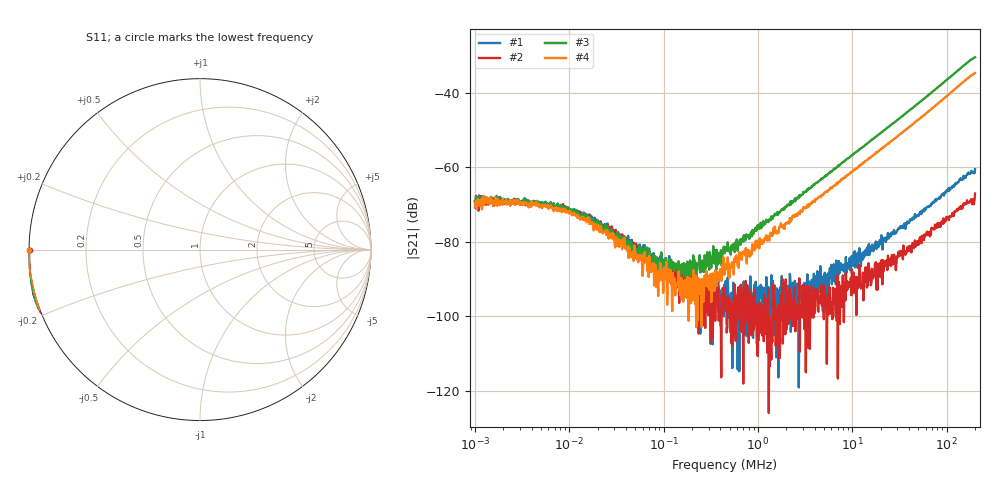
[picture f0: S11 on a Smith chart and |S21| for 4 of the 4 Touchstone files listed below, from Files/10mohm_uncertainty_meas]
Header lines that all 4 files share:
! ListType=Log
# MHZ S RI R 50
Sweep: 1 kHz to 200 MHz
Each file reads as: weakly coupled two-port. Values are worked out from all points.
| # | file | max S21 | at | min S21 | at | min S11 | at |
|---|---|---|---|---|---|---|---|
| 1 | gl2_via_13mil_dia.s2p | -60.54 dB | 200 MHz | -119.2 dB | 2.711 MHz | 0.0 dB | 1.076 kHz |
| 2 | gl2_via_26mil_dia.s2p | -67.12 dB | 200 MHz | -126.0 dB | 1.303 MHz | 0.0 dB | 1.025 kHz |
| 3 | gl4_via_13mil_dia.s2p | -30.52 dB | 200 MHz | -94.6 dB | 175.6 kHz | 0.0 dB | 1.089 kHz |
| 4 | gl4_via_26mil_dia.s2p | -34.76 dB | 200 MHz | -102.9 dB | 221.5 kHz | 0.0 dB | 1.012 kHz |
